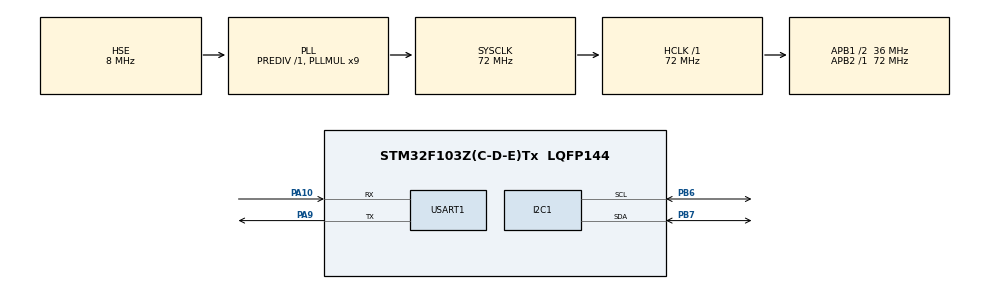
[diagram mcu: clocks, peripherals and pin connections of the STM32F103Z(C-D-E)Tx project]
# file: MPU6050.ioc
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Mcu.Family=STM32F1
RCC.PLLSourceVirtual=RCC_PLLSOURCE_HSE
PA10.Mode=Asynchronous
RCC.APB1CLKDivider=RCC_HCLK_DIV2
RCC.SYSCLKSource=RCC_SYSCLKSOURCE_PLLCLK
ProjectManager.StackSize=0x400
PA13.Signal=SYS_JTMS-SWDIO
PA9.Mode=Asynchronous
ProjectManager.TargetToolchain=STM32CubeIDE
I2C1.I2C_Mode=I2C_Fast
RCC.HCLKFreq_Value=72000000
RCC.APB2TimFreq_Value=72000000
PA9.Signal=USART1_TX
PB6.Signal=I2C1_SCL
PB6.Mode=I2C
OSC_IN.Signal=RCC_OSC_IN
RCC.USBFreq_Value=72000000
OSC_OUT.Mode=HSE-External-Oscillator
OSC_OUT.Signal=RCC_OSC_OUT
RCC.AHBFreq_Value=72000000
board=custom
RCC.PLLMUL=RCC_PLL_MUL9
RCC.APB2Freq_Value=72000000
PA14.Mode=Serial_Wire
PB7.Signal=I2C1_SDA
PA13.Mode=Serial_Wire
Mcu.Name=STM32F103Z(C-D-E)Tx
RCC.SYSCLKFreq_VALUE=72000000
Mcu.Package=LQFP144
OSC_IN.Mode=HSE-External-Oscillator
USART1.VirtualMode=VM_ASYNC
PB7.Mode=I2C
PA10.Signal=USART1_RX
PA14.Signal=SYS_JTCK-SWCLK
ProjectManager.HeapSize=0x200
NVIC.PriorityGroup=NVIC_PRIORITYGROUP_4
RCC.APB1TimFreq_Value=72000000
RCC.APB1Freq_Value=36000000

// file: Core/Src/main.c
/* USER CODE BEGIN Header */
/**
  ******************************************************************************
  * @file           : main.c
  * @brief          : Main program body
  ******************************************************************************
  * @attention
  *
  * <h2><center>&copy; Copyright (c) 2021 STMicroelectronics.
  * All rights reserved.</center></h2>
  *
  * This software component is licensed by ST under BSD 3-Clause license,
  * the "License"; You may not use this file except in compliance with the
  * License. You may obtain a copy of the License at:
  *                        opensource.org/licenses/BSD-3-Clause
  *
  ******************************************************************************
  */
/* USER CODE END Header */
#include "main.h"
#include "i2c.h"
#include "usart.h"
#include "gpio.h"

/* USER CODE BEGIN Includes */
#include "mpu6050.h"
#include "host_computer.h"
/* USER CODE END Includes */

void SystemClock_Config(void);

/* USER CODE BEGIN 0 */
MPU6050_t MPU6050;
/* USER CODE END 0 */

int main(void)
{

  /* MCU Configuration--------------------------------------------------------*/

  /* Reset of all peripherals, Initializes the Flash interface and the Systick. */
  HAL_Init();

  /* Configure the system clock */
  SystemClock_Config();

  /* Initialize all configured peripherals */
  MX_GPIO_Init();
  MX_I2C1_Init();
  MX_USART1_UART_Init();
  /* USER CODE BEGIN 2 */
  while (MPU6050_Init(&hi2c1) == 1);
//  print("Starting......\r\n");
  /* USER CODE END 2 */

  /* Infinite loop */
  /* USER CODE BEGIN WHILE */
  while (1)
  {
	  MPU6050_Read_All(&hi2c1, &MPU6050);
	  mpu6050_send_data(MPU6050.Accel_X_RAW, MPU6050.Accel_Y_RAW, MPU6050.Accel_Z_RAW, MPU6050.Gyro_X_RAW, MPU6050.Gyro_Y_RAW, MPU6050.Gyro_Z_RAW);
//	  print("\r\nKalmanAngleX:%.2f\r\nKalmanAngleY:%.2f\r\n", MPU6050.KalmanAngleX, MPU6050.KalmanAngleY);
	  HAL_Delay (1000);
    /* USER CODE END WHILE */

  }
}

void SystemClock_Config(void)
{
  RCC_OscInitTypeDef RCC_OscInitStruct = {0};
  RCC_ClkInitTypeDef RCC_ClkInitStruct = {0};

  /** Initializes the RCC Oscillators according to the specified parameters
  * in the RCC_OscInitTypeDef structure.
  */
  RCC_OscInitStruct.OscillatorType = RCC_OSCILLATORTYPE_HSE;
  RCC_OscInitStruct.HSEState = RCC_HSE_ON;
  RCC_OscInitStruct.HSEPredivValue = RCC_HSE_PREDIV_DIV1;
  RCC_OscInitStruct.HSIState = RCC_HSI_ON;
  RCC_OscInitStruct.PLL.PLLState = RCC_PLL_ON;
  RCC_OscInitStruct.PLL.PLLSource = RCC_PLLSOURCE_HSE;
  RCC_OscInitStruct.PLL.PLLMUL = RCC_PLL_MUL9;
  if (HAL_RCC_OscConfig(&RCC_OscInitStruct) != HAL_OK)
  {
    Error_Handler();
  }
  /** Initializes the CPU, AHB and APB buses clocks
  */
  RCC_ClkInitStruct.ClockType = RCC_CLOCKTYPE_HCLK|RCC_CLOCKTYPE_SYSCLK
                              |RCC_CLOCKTYPE_PCLK1|RCC_CLOCKTYPE_PCLK2;
  RCC_ClkInitStruct.SYSCLKSource = RCC_SYSCLKSOURCE_PLLCLK;
  RCC_ClkInitStruct.AHBCLKDivider = RCC_SYSCLK_DIV1;
  RCC_ClkInitStruct.APB1CLKDivider = RCC_HCLK_DIV2;
  RCC_ClkInitStruct.APB2CLKDivider = RCC_HCLK_DIV1;

  if (HAL_RCC_ClockConfig(&RCC_ClkInitStruct, FLASH_LATENCY_2) != HAL_OK)
  {
    Error_Handler();
  }
}

/* USER CODE BEGIN 4 */
// 须在头文件中添加 #include <stdio.h>

//////////////////////////////////////////////////////////////////
// 加入以下代码,支持printf函数,而不需要选择use MicroLIB
// MDK中同样定义了 __GNUC__，使用__ARMCC_VERSION 或  __CC_ARM 区分MDK和STM32CubeIDE
// MDK预定义宏，详见 ：https://www.keil.com/support/man/docs/armcc/armcc_chr1359125007083.htm

#ifdef __CC_ARM // 或 #ifdef __ARMCC_VERSION
  #define PUTCHAR_PROTOTYPE int fputc(int ch, FILE *f)
#else
  #define PUTCHAR_PROTOTYPE int __io_putchar(int ch)
#endif
#if 1

FILE __stdout;
//定义_sys_exit()以避免使用半主机模式
void _sys_exit(int x) {
  x = x;
}
//重定义fputc函数
PUTCHAR_PROTOTYPE {
  // 具体哪个串口可以更改huart2为其它串口
  // HAL_UART_Transmit(&huart2, (uint8_t *)&ch, 1 , 0xffff);
  while ((USART1->SR & 0X40) == 0) {
  }; //循环发送,直到发送完毕
  USART1->DR = (uint8_t) ch;

//  while ((USART2->SR & 0X40) == 0) {
//  }; //循环发送,直到发送完毕
//  USART2->DR = (uint8_t) ch;

  return ch;
}
#endif

/* USER CODE END 4 */

void Error_Handler(void)
{
  __disable_irq();
  while (1)
  {
  }
}

/************************ (C) COPYRIGHT STMicroelectronics *****END OF FILE****/
